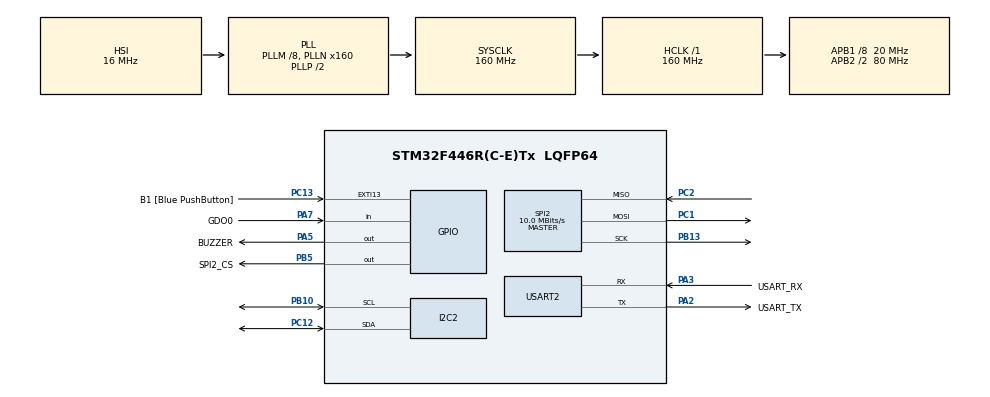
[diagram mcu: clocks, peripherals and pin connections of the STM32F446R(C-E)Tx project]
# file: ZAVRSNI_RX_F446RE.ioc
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FREERTOS.HEAP_NUMBER=4
FREERTOS.Mutexes01=myMutex01,Dynamic,NULL
FREERTOS.Queues01=myQueue01,1,uint8_t,0,Dynamic,NULL,NULL;myQueue02,1,uint8_t,0,Dynamic,NULL,NULL
FREERTOS.Tasks01=CC1101,40,200,StartCC1101,Default,NULL,Dynamic,NULL,NULL;LCD,24,200,StartLCD,Default,NULL,Dynamic,NULL,NULL;BUZZER,8,200,StartBUZZER,Default,NULL,Dynamic,NULL,NULL
FREERTOS.configCHECK_FOR_STACK_OVERFLOW=2
FREERTOS.configGENERATE_RUN_TIME_STATS=1
FREERTOS.configRECORD_STACK_HIGH_ADDRESS=1
FREERTOS.configUSE_STATS_FORMATTING_FUNCTIONS=1
Mcu.Family=STM32F4
Mcu.Name=STM32F446R(C-E)Tx
Mcu.Package=LQFP64
NVIC.PriorityGroup=NVIC_PRIORITYGROUP_4
NVIC.TIM6_DAC_IRQn=true\:15\:0\:false\:false\:true\:false\:false\:true\:true
NVIC.TimeBase=TIM6_DAC_IRQn
NVIC.TimeBaseIP=TIM6
PA13.GPIO_Label=TMS
PA13.Mode=Serial_Wire
PA13.Signal=SYS_JTMS-SWDIO
PA14.GPIO_Label=TCK
PA14.Mode=Serial_Wire
PA14.Signal=SYS_JTCK-SWCLK
PA2.GPIO_Label=USART_TX
PA2.Mode=Asynchronous
PA2.Signal=USART2_TX
PA3.GPIO_Label=USART_RX
PA3.Mode=Asynchronous
PA3.Signal=USART2_RX
PA5.GPIO_Label=BUZZER
PA5.GPIO_ModeDefaultOutputPP=GPIO_MODE_OUTPUT_PP
PA5.PinState=GPIO_PIN_RESET
PA5.Signal=GPIO_Output
PA7.GPIO_Label=GDO0
PA7.Signal=GPIO_Input
PB10.GPIO_Pu=GPIO_PULLUP
PB10.Mode=I2C
PB10.Signal=I2C2_SCL
PB13.Mode=Full_Duplex_Master
PB13.Signal=SPI2_SCK
PB3.GPIO_Label=SWO
PB3.Signal=SYS_JTDO-SWO
PB5.GPIO_Label=SPI2_CS
PB5.PinState=GPIO_PIN_SET
PB5.Signal=GPIO_Output
PC1.Mode=Full_Duplex_Master
PC1.Signal=SPI2_MOSI
PC12.GPIO_Pu=GPIO_PULLUP
PC12.Mode=I2C
PC12.Signal=I2C2_SDA
PC13.GPIO_Label=B1 [Blue PushButton]
PC13.GPIO_ModeDefaultEXTI=GPIO_MODE_IT_FALLING
PC13.Signal=GPXTI13
PC14-OSC32_IN.Mode=LSE-External-Oscillator
PC14-OSC32_IN.Signal=RCC_OSC32_IN
PC15-OSC32_OUT.Mode=LSE-External-Oscillator
PC15-OSC32_OUT.Signal=RCC_OSC32_OUT
PC2.Mode=Full_Duplex_Master
PC2.Signal=SPI2_MISO
PH0-OSC_IN.Mode=HSE-External-Oscillator
PH0-OSC_IN.Signal=RCC_OSC_IN
PH1-OSC_OUT.Mode=HSE-External-Oscillator
PH1-OSC_OUT.Signal=RCC_OSC_OUT
ProjectManager.HeapSize=0x200
ProjectManager.StackSize=0x400
ProjectManager.TargetToolchain=STM32CubeIDE
RCC.48MHZClocksFreq_Value=84000000
RCC.AHBFreq_Value=160000000
RCC.APB1CLKDivider=RCC_HCLK_DIV8
RCC.APB1Freq_Value=20000000
RCC.APB1TimFreq_Value=40000000
RCC.APB2CLKDivider=RCC_HCLK_DIV2
RCC.APB2Freq_Value=80000000
RCC.APB2TimFreq_Value=160000000
RCC.CortexFreq_Value=160000000
RCC.FLatency-AdvancedSettings=FLASH_LATENCY_5
RCC.HCLKFreq_Value=160000000
RCC.HSE_VALUE=8000000
RCC.HSI_VALUE=16000000
RCC.PLLM=8
RCC.PLLN=160
RCC.SYSCLKFreq_VALUE=160000000
RCC.SYSCLKSource=RCC_SYSCLKSOURCE_PLLCLK
RCC.USBFreq_Value=160000000
RCC.VCOOutputFreq_Value=320000000
SPI2.BaudRatePrescaler=SPI_BAUDRATEPRESCALER_2
SPI2.CalculateBaudRate=10.0 MBits/s
SPI2.Direction=SPI_DIRECTION_2LINES
SPI2.Mode=SPI_MODE_MASTER
SPI2.VirtualType=VM_MASTER
TIM1.Prescaler=0
TIM2.Prescaler=39
USART2.VirtualMode=VM_ASYNC
VP_FREERTOS_VS_CMSIS_V2.Mode=CMSIS_V2
VP_SYS_VS_tim6.Mode=TIM6
VP_TIM1_VS_ClockSourceINT.Mode=Internal
VP_TIM2_VS_ClockSourceINT.Mode=Internal
board=NUCLEO-F446RE

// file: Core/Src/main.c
/* USER CODE BEGIN Header */
/**
  ******************************************************************************
  * @file           : main.c
  * @brief          : Main program body
  ******************************************************************************
  * @attention
  *
  * Copyright (c) 2024 STMicroelectronics.
  * All rights reserved.
  *
  * This software is licensed under terms that can be found in the LICENSE file
  * in the root directory of this software component.
  * If no LICENSE file comes with this software, it is provided AS-IS.
  *
  ******************************************************************************
  */
/* USER CODE END Header */
#include "main.h"
#include "cmsis_os.h"
#include "i2c.h"
#include "spi.h"
#include "tim.h"
#include "usart.h"
#include "gpio.h"

/* USER CODE BEGIN Includes */
#include "LCD1602.h"
#include "CC1101_E07_M1101D_SMA.h"
#include <string.h>
#include <stdio.h>
/* USER CODE END Includes */

void SystemClock_Config(void);
void MX_FREERTOS_Init(void);

int main(void)
{

  /* MCU Configuration--------------------------------------------------------*/

  /* Reset of all peripherals, Initializes the Flash interface and the Systick. */
  HAL_Init();

  /* Configure the system clock */
  SystemClock_Config();

  /* Initialize all configured peripherals */
  MX_GPIO_Init();
  MX_USART2_UART_Init();
  MX_SPI2_Init();
  MX_TIM1_Init();
  MX_TIM2_Init();
  MX_I2C2_Init();
  /* USER CODE BEGIN 2 */
  HAL_TIM_Base_Start(&htim1);
  HAL_TIM_Base_Start(&htim2);

  manual_POR();
  cc1101_init(0);
  LCD1602_Init(2);
  LCD1602_Clear();
  LCD1602_NoDisplay();
  LCD1602_Cursor();
  LCD1602_SetCursor(0,0);
  LCD1602_PrintStr("ENTRANCE 1 ALERT");

  /* USER CODE END 2 */

  /* Init scheduler */
  osKernelInitialize();  /* Call init function for freertos objects (in freertos.c) */
  MX_FREERTOS_Init();

  /* Start scheduler */
  osKernelStart();

  /* We should never get here as control is now taken by the scheduler */
  /* Infinite loop */
  while (1)
  {

  }
}

void SystemClock_Config(void)
{
  RCC_OscInitTypeDef RCC_OscInitStruct = {0};
  RCC_ClkInitTypeDef RCC_ClkInitStruct = {0};

  /** Configure the main internal regulator output voltage
  */
  __HAL_RCC_PWR_CLK_ENABLE();
  __HAL_PWR_VOLTAGESCALING_CONFIG(PWR_REGULATOR_VOLTAGE_SCALE1);

  /** Initializes the RCC Oscillators according to the specified parameters
  * in the RCC_OscInitTypeDef structure.
  */
  RCC_OscInitStruct.OscillatorType = RCC_OSCILLATORTYPE_HSI;
  RCC_OscInitStruct.HSIState = RCC_HSI_ON;
  RCC_OscInitStruct.HSICalibrationValue = RCC_HSICALIBRATION_DEFAULT;
  RCC_OscInitStruct.PLL.PLLState = RCC_PLL_ON;
  RCC_OscInitStruct.PLL.PLLSource = RCC_PLLSOURCE_HSI;
  RCC_OscInitStruct.PLL.PLLM = 8;
  RCC_OscInitStruct.PLL.PLLN = 160;
  RCC_OscInitStruct.PLL.PLLP = RCC_PLLP_DIV2;
  RCC_OscInitStruct.PLL.PLLQ = 2;
  RCC_OscInitStruct.PLL.PLLR = 2;
  if (HAL_RCC_OscConfig(&RCC_OscInitStruct) != HAL_OK)
  {
    Error_Handler();
  }

  /** Initializes the CPU, AHB and APB buses clocks
  */
  RCC_ClkInitStruct.ClockType = RCC_CLOCKTYPE_HCLK|RCC_CLOCKTYPE_SYSCLK
                              |RCC_CLOCKTYPE_PCLK1|RCC_CLOCKTYPE_PCLK2;
  RCC_ClkInitStruct.SYSCLKSource = RCC_SYSCLKSOURCE_PLLCLK;
  RCC_ClkInitStruct.AHBCLKDivider = RCC_SYSCLK_DIV1;
  RCC_ClkInitStruct.APB1CLKDivider = RCC_HCLK_DIV8;
  RCC_ClkInitStruct.APB2CLKDivider = RCC_HCLK_DIV2;

  if (HAL_RCC_ClockConfig(&RCC_ClkInitStruct, FLASH_LATENCY_5) != HAL_OK)
  {
    Error_Handler();
  }
}

void HAL_TIM_PeriodElapsedCallback(TIM_HandleTypeDef *htim)
{
  if (htim->Instance == TIM6) {
    HAL_IncTick();
  }
}

void Error_Handler(void)
{
  __disable_irq();
  while (1)
  {
  }
}

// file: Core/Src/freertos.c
/* USER CODE BEGIN Header */
/**
  ******************************************************************************
  * File Name          : freertos.c
  * Description        : Code for freertos applications
  ******************************************************************************
  * @attention
  *
  * Copyright (c) 2024 STMicroelectronics.
  * All rights reserved.
  *
  * This software is licensed under terms that can be found in the LICENSE file
  * in the root directory of this software component.
  * If no LICENSE file comes with this software, it is provided AS-IS.
  *
  ******************************************************************************
  */
/* USER CODE END Header */

#include "FreeRTOS.h"
#include "task.h"
#include "main.h"
#include "cmsis_os.h"

/* USER CODE BEGIN Includes */
#include "LCD1602.h"
#include "CC1101_E07_M1101D_SMA.h"
#include <string.h>
#include <stdio.h>
/* USER CODE END Includes */

/* USER CODE BEGIN Variables */
char serialStatus[50];
/* USER CODE END Variables */
/* Definitions for CC1101 */
osThreadId_t CC1101Handle;
const osThreadAttr_t CC1101_attributes = {
  .name = "CC1101",
  .stack_size = 200 * 4,
  .priority = (osPriority_t) osPriorityHigh,
};
/* Definitions for LCD */
osThreadId_t LCDHandle;
const osThreadAttr_t LCD_attributes = {
  .name = "LCD",
  .stack_size = 200 * 4,
  .priority = (osPriority_t) osPriorityNormal,
};
/* Definitions for BUZZER */
osThreadId_t BUZZERHandle;
const osThreadAttr_t BUZZER_attributes = {
  .name = "BUZZER",
  .stack_size = 200 * 4,
  .priority = (osPriority_t) osPriorityLow,
};
/* Definitions for myQueue01 */
osMessageQueueId_t myQueue01Handle;
const osMessageQueueAttr_t myQueue01_attributes = {
  .name = "myQueue01"
};
/* Definitions for myQueue02 */
osMessageQueueId_t myQueue02Handle;
const osMessageQueueAttr_t myQueue02_attributes = {
  .name = "myQueue02"
};
/* Definitions for myMutex01 */
osMutexId_t myMutex01Handle;
const osMutexAttr_t myMutex01_attributes = {
  .name = "myMutex01"
};

void StartCC1101(void *argument);
void StartLCD(void *argument);
void StartBUZZER(void *argument);

void MX_FREERTOS_Init(void); /* (MISRA C 2004 rule 8.1) */

/* Hook prototypes */
void configureTimerForRunTimeStats(void);
unsigned long getRunTimeCounterValue(void);
void vApplicationStackOverflowHook(xTaskHandle xTask, signed char *pcTaskName);

/* USER CODE BEGIN 1 */
int _write(int file, char *ptr, int len)
{
   int i=0;

   (void)file;

   for(i=0 ; i<len ; i++)
   {
      ITM_SendChar((uint32_t)(*ptr++));
   }

   return len;
}

/* Functions needed when configGENERATE_RUN_TIME_STATS is on */
__weak void configureTimerForRunTimeStats(void)
{
	CoreDebug->DEMCR |= CoreDebug_DEMCR_TRCENA_Msk;
	DWT->CTRL |= 1;
	DWT->CYCCNT = 0;
}

__weak unsigned long getRunTimeCounterValue(void)
{
	return DWT->CYCCNT;
}
/* USER CODE END 1 */

/* USER CODE BEGIN 4 */
void vApplicationStackOverflowHook(xTaskHandle xTask, signed char *pcTaskName)
{
   /* Run time stack overflow checking is performed if
   configCHECK_FOR_STACK_OVERFLOW is defined to 1 or 2. This hook function is
   called if a stack overflow is detected. */
}
/* USER CODE END 4 */

void MX_FREERTOS_Init(void) {
  /* Create the mutex(es) */
  /* creation of myMutex01 */
  myMutex01Handle = osMutexNew(&myMutex01_attributes);

  /* Create the queue(s) */
  /* creation of myQueue01 */
  myQueue01Handle = osMessageQueueNew (1, sizeof(uint8_t), &myQueue01_attributes);

  /* creation of myQueue02 */
  myQueue02Handle = osMessageQueueNew (1, sizeof(uint8_t), &myQueue02_attributes);

  /* Create the thread(s) */
  /* creation of CC1101 */
  CC1101Handle = osThreadNew(StartCC1101, NULL, &CC1101_attributes);

  /* creation of LCD */
  LCDHandle = osThreadNew(StartLCD, NULL, &LCD_attributes);

  /* creation of BUZZER */
  BUZZERHandle = osThreadNew(StartBUZZER, NULL, &BUZZER_attributes);

}

void StartCC1101(void *argument)
{
  /* USER CODE BEGIN StartCC1101 */
	uint8_t msg;
	uint8_t rxData[5] = {0x00,0x00,0x00,0x00,0x00};
  /* Infinite loop */
	for(;;)
	{
	  osMutexAcquire(myMutex01Handle, osWaitForever);
	  if(receive_burst_byte_433(rxData))
	  {
		  if(rxData[2] == 0xFF)
		  {
			  msg = rxData[2];
			  osMessageQueuePut(myQueue01Handle, &msg, 0, 0);
			  osMessageQueuePut(myQueue02Handle, &msg, 0, 0);
		  }
	  }
	  else
	  {
		  msg = 0x00;
		  osMessageQueuePut(myQueue01Handle, &msg, 0, 0);
		  osMessageQueuePut(myQueue02Handle, &msg, 0, 0);
	  }
	  osMutexRelease(myMutex01Handle);
	  osDelay(10);
	}
  /* USER CODE END StartCC1101 */
}

void StartLCD(void *argument)
{
  /* USER CODE BEGIN StartLCD */
	uint8_t msg;
	osStatus_t status;

  /* Infinite loop */
  for(;;)
  {
	  osMutexAcquire(myMutex01Handle, osWaitForever);
	  if(osMessageQueueGetCount(myQueue01Handle))
	  {
		  status = osMessageQueueGet(myQueue01Handle, &msg, 0, 0);
		  if((status == osOK) && (msg == 0xFF))
		  {
			  LCD1602_Backlight();
			  LCD1602_Display();
		  }
	  }
	  osMutexRelease(myMutex01Handle);
	  osDelay(10);
  }
  /* USER CODE END StartLCD */
}

void StartBUZZER(void *argument)
{
  /* USER CODE BEGIN StartBUZZER */
	uint8_t msg;
	osStatus_t status;
  /* Infinite loop */
  for(;;)
  {
	  osMutexAcquire(myMutex01Handle, osWaitForever);
	  if(osMessageQueueGetCount(myQueue02Handle))
	  {
		  status = osMessageQueueGet(myQueue02Handle, &msg, 0, 0);
		  if((status == osOK) && (msg == 0xFF))
		  {
			  for(int i = 0; i < 8; i++)
			  {
				  HAL_GPIO_WritePin(BUZZER_GPIO_Port, BUZZER_Pin, GPIO_PIN_SET);
				  HAL_Delay(125);
				  HAL_GPIO_WritePin(BUZZER_GPIO_Port, BUZZER_Pin, GPIO_PIN_RESET);
				  HAL_Delay(125);
			  }
		  }
		  else if((status == osOK) && (msg == 0x00))
		  {
			  HAL_GPIO_WritePin(BUZZER_GPIO_Port, BUZZER_Pin, GPIO_PIN_RESET);
			  LCD1602_NoBacklight();
			  LCD1602_NoDisplay();
		  }
	  }
	  osMutexRelease(myMutex01Handle);
	  osDelay(10);
  }
  /* USER CODE END StartBUZZER */
}
